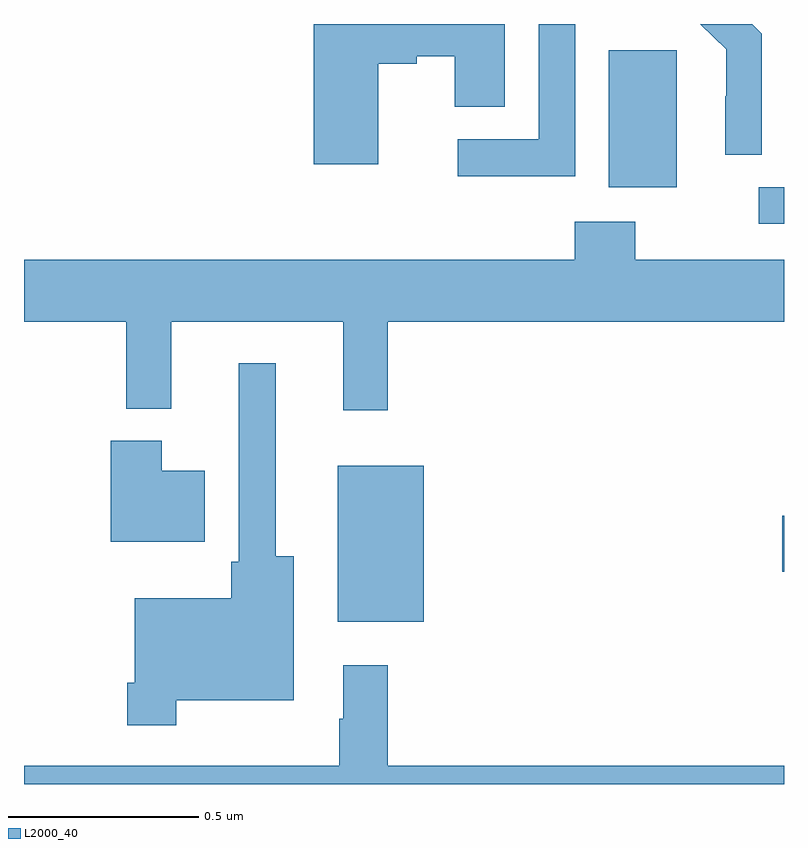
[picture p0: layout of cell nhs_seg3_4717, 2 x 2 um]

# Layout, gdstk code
import gdstk
lib = gdstk.Library(unit=1e-6, precision=1e-09)
def R(c, l, rs):  # rectangles x0, y0, x1, y1
    for r in rs: c.add(gdstk.rectangle(r[:2], r[2:], *l))
def P(c, l, *ps):  # polygons
    for p in ps: c.add(gdstk.Polygon(p, *l))
L2000_40 = (2000, 40)

nhs_seg3_4717 = lib.new_cell('nhs_seg3_4717')
R(nhs_seg3_4717, L2000_40, [(170.825,666.827,171.052,667.237), (171.996,666.959,172,667.106), (171.933,667.875,172,667.971), (171.539,667.97,171.718,668.331)])
P(nhs_seg3_4717, L2000_40, [(170.932,668.296),(171.033,668.296),(171.033,668.315),(171.134,668.315),(171.134,668.182),(171.265,668.182),(171.265,668.4),(170.762,668.4),(170.762,668.031),(170.932,668.031)],
  [(171.45,668.4),(171.354,668.4),(171.354,668.097),(171.141,668.097),(171.141,667.999),(171.45,667.999)],
  [(171.942,668.374),(171.916,668.4),(171.78,668.4),(171.848,668.333),(171.848,668.21),(171.846,668.21),(171.846,668.056),(171.942,668.056)],
  [(170.957,667.616),(172,667.616),(172,667.78),(171.609,667.78),(171.609,667.879),(171.449,667.879),(171.449,667.78),(170,667.78),(170,667.616),(170.269,667.616),(170.269,667.388),(170.387,667.388),(170.387,667.616),(170.84,667.616),(170.84,667.383),(170.957,667.383)],
  [(170.401,666.62),(170.71,666.62),(170.71,667),(170.662,667),(170.662,667.507),(170.565,667.507),(170.565,666.985),(170.545,666.985),(170.545,666.889),(170.292,666.889),(170.292,666.667),(170.272,666.667),(170.272,666.555),(170.401,666.555)],
  [(170.476,667.225),(170.362,667.225),(170.362,667.303),(170.228,667.303),(170.228,667.037),(170.476,667.037)],
  [(172,666.448),(170.957,666.448),(170.957,666.712),(170.84,666.712),(170.84,666.572),(170.829,666.572),(170.829,666.448),(170,666.448),(170,666.4),(172,666.4)])

lib.write_gds('nhs_seg3_4717.gds')
